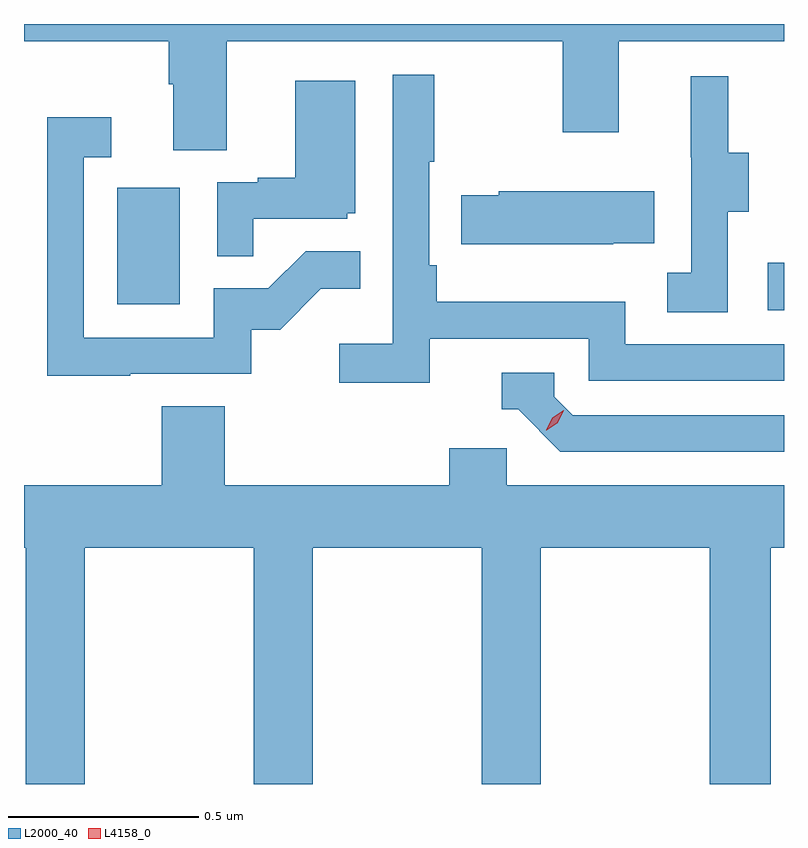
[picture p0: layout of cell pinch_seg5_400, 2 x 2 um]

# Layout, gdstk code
import gdstk
lib = gdstk.Library(unit=1e-6, precision=1e-09)
def R(c, l, rs):  # rectangles x0, y0, x1, y1
    for r in rs: c.add(gdstk.rectangle(r[:2], r[2:], *l))
def P(c, l, *ps):  # polygons
    for p in ps: c.add(gdstk.Polygon(p, *l))
L2000_40 = (2000, 40)
L4158_0 = (4158, 0)

pinch_seg5_400 = lib.new_cell('pinch_seg5_400')
R(pinch_seg5_400, L2000_40, [(971.559,872.037,971.602,872.162), (969.848,872.052,970.012,872.359)])
P(pinch_seg5_400, L2000_40, [(970.135,872.744),(971.02,872.744),(971.02,872.505),(971.167,872.505),(971.167,872.744),(971.602,872.744),(971.602,872.79),(969.602,872.79),(969.602,872.744),(969.983,872.744),(969.983,872.632),(969.995,872.632),(969.995,872.458),(970.135,872.458)],
  [(970.67,871.962),(971.088,871.962),(971.088,871.851),(971.602,871.851),(971.602,871.947),(971.184,871.947),(971.184,872.059),(970.688,872.059),(970.688,872.155),(970.668,872.155),(970.668,872.428),(970.681,872.428),(970.681,872.656),(970.572,872.656),(970.572,871.948),(970.431,871.948),(970.431,871.846),(970.67,871.846)],
  [(971.454,872.296),(971.509,872.296),(971.509,872.451),(971.455,872.451),(971.455,872.653),(971.357,872.653),(971.357,872.439),(971.358,872.439),(971.358,872.135),(971.295,872.135),(971.295,872.032),(971.454,872.032)],
  [(970.205,872.277),(970.452,872.277),(970.452,872.292),(970.474,872.292),(970.474,872.641),(970.316,872.641),(970.316,872.386),(970.217,872.386),(970.217,872.373),(970.11,872.373),(970.11,872.179),(970.205,872.179)],
  [(969.881,871.869),(970.2,871.869),(970.2,871.986),(970.276,871.986),(970.383,872.093),(970.487,872.093),(970.487,872.192),(970.343,872.192),(970.245,872.094),(970.101,872.094),(970.101,871.965),(969.759,871.965),(969.759,872.439),(969.832,872.439),(969.832,872.545),(969.663,872.545),(969.663,871.864),(969.881,871.864)],
  [(971.153,872.213),(971.261,872.213),(971.261,872.35),(970.851,872.35),(970.851,872.34),(970.753,872.34),(970.753,872.21),(971.153,872.21)],
  [(971.602,871.761),(971.046,871.761),(970.998,871.809),(970.998,871.872),(970.859,871.872),(970.859,871.776),(970.902,871.776),(971.013,871.665),(971.602,871.665)],
  [(969.762,871.412),(970.207,871.412),(970.207,870.79),(970.362,870.79),(970.362,871.412),(970.807,871.412),(970.807,870.79),(970.962,870.79),(970.962,871.412),(971.407,871.412),(971.407,870.79),(971.567,870.79),(971.567,871.412),(971.602,871.412),(971.602,871.576),(970.872,871.576),(970.872,871.674),(970.721,871.674),(970.721,871.576),(970.13,871.576),(970.13,871.784),(969.965,871.784),(969.965,871.576),(969.602,871.576),(969.602,871.412),(969.607,871.412),(969.607,870.79),(969.762,870.79)])
P(pinch_seg5_400, L4158_0, [(970.976,871.721),(970.976,871.722),(970.992,871.754),(971.023,871.773),(971.023,871.773),(971.023,871.773),(971.007,871.741),(970.977,871.721)])

lib.write_gds('pinch_seg5_400.gds')
